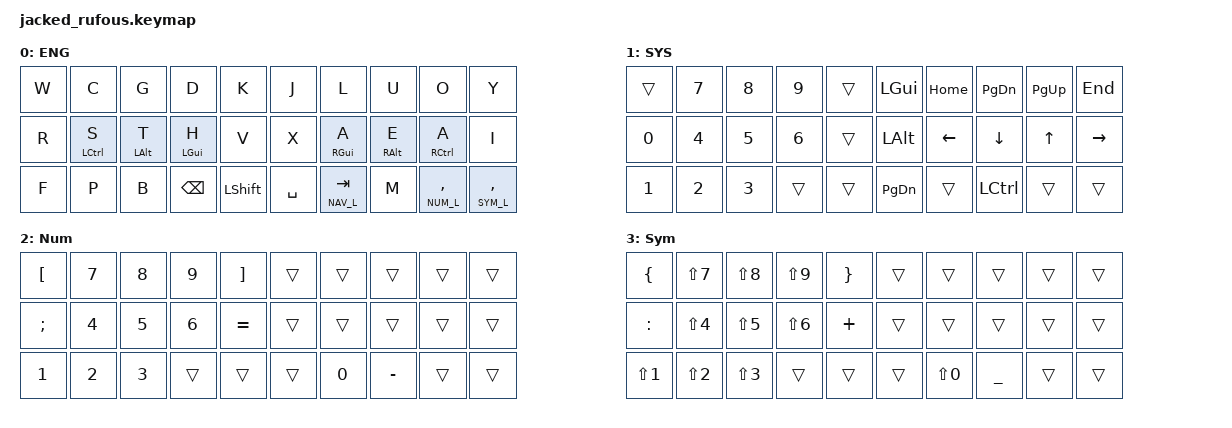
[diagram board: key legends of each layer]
#include <behaviors.dtsi>
#include <dt-bindings/zmk/keys.h>
#include <behaviors/mouse_setting.dtsi>

#define DEF_L 0
#define NAV_L 1
#define NUM_L 2
#define SYM_L 3

&lt {
    quick-tap-ms = <200>;
};

/ {
    behaviors {
        hm: homerow_mods {
            compatible = "zmk,behavior-hold-tap";
            #binding-cells = <2>;
            tapping-term-ms = <225>;
            flavor = "tap-preferred";
            bindings = <&kp>, <&kp>;
        };
    };

    combos {
        compatible = "zmk,combos";

        combo_z {
            timeout-ms = <50>;
            key-positions = <20 21>;
            bindings = <&kp Z>;
        };

        combo_b {
            timeout-ms = <50>;
            key-positions = <21 22>;
            bindings = <&kp B>;
        };

        combo_y {
            timeout-ms = <50>;
            key-positions = <23 24>;
            bindings = <&kp Y>;
        };

        combo_slash {
            timeout-ms = <50>;
            key-positions = <24 25>;
            bindings = <&kp SLASH>;
        };
    };

    keymap {
        compatible = "zmk,keymap";

        eng {
            display-name = "ENG";
            // | W | C         | G        | D        | K    | J     | L        | U            | O         | Y          |
            // | R | HM CTRL S | HM ALT T | HM GUI H | V    | X     | HM GUI A | HM ALTGR E   | HM CTRL A | I          |
            //     | F         | P        | B        | BSPC | SHIFT | SPC      | LT NAV_L TAB | M         | LT NUM_L , | LT SYM_L , |
            bindings = <
                &kp W  &kp C        &kp G       &kp D       &kp K     &kp J      &kp L       &kp U          &kp O        &kp Y
                &kp R  &hm LCTRL S  &hm LALT T  &hm LGUI H  &kp V     &kp X      &hm RGUI A  &hm RALT E     &hm RCTRL A  &kp I
                       &kp F        &kp P       &kp B       &kp BSPC  &kp LSHFT  &kp SPACE   &lt NAV_L TAB  &kp M        &lt NUM_L COMMA  &lt SYM_L COMMA
            >;
        };

        sys {
            display-name = "SYS";
            // |   | 7 | 8 | 9 |   | GUI | HOME  | PG_DN | PG_UP | END   |
            // | 0 | 4 | 5 | 6 |   | ALT | LEFT  | DOWN  | UP    | RIGHT |
            //     | 1 | 2 | 3 |   |     | PG_DN |       | CTRL  |       |   |
            bindings = <
                &trans  &kp N7  &kp N8  &kp N9  &trans  &kp LGUI  &kp HOME   &kp PG_DN  &kp PG_UP  &kp END
                &kp N0  &kp N4  &kp N5  &kp N6  &trans  &kp LALT  &kp LEFT   &kp DOWN   &kp UP     &kp RIGHT
                        &kp N1  &kp N2  &kp N3  &trans  &trans    &kp PG_DN  &trans     &kp LCTRL  &trans     &trans
            >;
        };

        num_layer {
            display-name = "Num";
            // | [ | 7 | 8 | 9 | ] |   |   |   |   |   |
            // | ; | 4 | 5 | 6 | = |   |   |   |   |   |
            //     | 1 | 2 | 3 |   |   |   | 0 | - |   |   |
            bindings = <
                &kp LBKT  &kp N7  &kp N8  &kp N9  &kp RBKT   &trans  &trans  &trans  &trans     &trans
                &kp SEMI  &kp N4  &kp N5  &kp N6  &kp EQUAL  &trans  &trans  &trans  &trans     &trans
                          &kp N1  &kp N2  &kp N3  &trans     &trans  &trans  &kp N0  &kp MINUS  &trans  &trans
            >;
        };

        sym_layer {
            display-name = "Sym";
            // | { | LS(N7) | LS(N8) | LS(N9) | } |   |   |        |   |   |
            // | : | LS(N4) | LS(N5) | LS(N6) | + |   |   |        |   |   |
            //     | LS(N1) | LS(N2) | LS(N3) |   |   |   | LS(N0) | _ |   |   |
            bindings = <
                &kp LBRC   &kp LS(N7)  &kp LS(N8)  &kp LS(N9)  &kp RBRC  &trans  &trans  &trans      &trans     &trans
                &kp COLON  &kp LS(N4)  &kp LS(N5)  &kp LS(N6)  &kp PLUS  &trans  &trans  &trans      &trans     &trans
                           &kp LS(N1)  &kp LS(N2)  &kp LS(N3)  &trans    &trans  &trans  &kp LS(N0)  &kp UNDER  &trans  &trans
            >;
        };
    };
};
